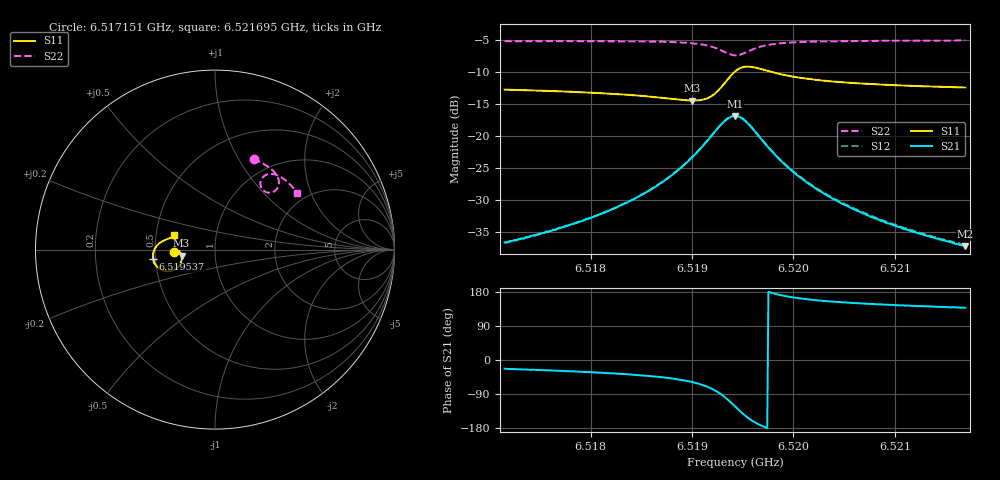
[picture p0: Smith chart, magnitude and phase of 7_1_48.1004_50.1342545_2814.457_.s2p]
#  HZ  S  RI  R  50.00
! Rohde & Schwarz Vector Network Analyzer
! Rohde-Schwarz,ZNB20-2Port,1311601062101988,3.16
! Created: UTC 12/23/2023, 3:35:16 AM
! freq[Hz]  re:S11  im:S11  re:S21  im:S21  re:S12  im:S12  re:S22  im:S22
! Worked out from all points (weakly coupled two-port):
!   401 points, 6.517151 GHz to 6.521695 GHz, reference 50 ohm
!   highest |S21| = -16.86 dB at 6.519423 GHz (marker M1); lowest = -37.1 dB at 6.521695 GHz (marker M2)
!   lowest |S11| = -14.5 dB at 6.519003 GHz (marker M3), VSWR 1.47, Z = 34.2 - j2.36 ohm
!   |S11| at or under -10 dB: start of sweep to 6.519418 GHz; 6.519783 GHz to end of sweep
!   |S22| runs from -7.4 to -5.1 dB; largest |S21 - S12| = 0.0042
!   S11 on the Smith chart (normalised r, x): 6.517151 GHz: 0.63, -0.02; 6.519537 GHz: 0.49, -0.06; 6.521695 GHz: 0.63, +0.10
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6.5171512e9  -0.2299 -0.0139  0.0137 -0.00577  0.0137 -0.00535  0.2148 0.5049
6.5175942e9  -0.2246 -0.00768  0.0162 -0.00833  0.0163 -0.00798  0.2474 0.4902
6.5179123e9  -0.2196 -0.00438  0.0187 -0.0112  0.019 -0.0106  0.2709 0.4774
6.5182645e9  -0.2124 -0.00278  0.0227 -0.0165  0.0232 -0.0158  0.2974 0.4605
6.5184576e9  -0.2071 -0.00393  0.0257 -0.0213  0.0264 -0.0205  0.3122 0.4491
6.5186735e9  -0.1999 -0.00843  0.03 -0.0295  0.0309 -0.0288  0.3291 0.4333
6.5188666e9  -0.1918 -0.0186  0.0342 -0.0427  0.0358 -0.0417  0.3442 0.4134
6.5190029e9  -0.1864 -0.0332  0.036 -0.0584  0.038 -0.0575  0.3532 0.3937
6.5191052e9  -0.1852 -0.0517  0.0338 -0.0765  0.0365 -0.0758  0.3563 0.3733
6.5191961e9  -0.1916 -0.076  0.0244 -0.0986  0.0275 -0.0987  0.3519 0.3502
6.5193324e9  -0.2381 -0.1168  -0.0233 -0.1311  -0.0196 -0.1328  0.3153 0.3181
6.5194233e9  -0.2981 -0.1129  -0.0769 -0.1213  -0.0739 -0.1243  0.2733 0.3263
6.5194801e9  -0.3288 -0.0874  -0.1016 -0.0954  -0.0998 -0.0991  0.2562 0.3484
6.5195369e9  -0.3439 -0.054  -0.111 -0.0649  -0.1101 -0.0685  0.2531 0.3739
6.5196391e9  -0.3394 -0.00422  -0.1017 -0.0226  -0.1019 -0.0257  0.27 0.4062
6.5197641e9  -0.3178 0.0282  -0.0796 0.00156  -0.0803 -0.000605  0.2984 0.4203
6.5199458e9  -0.2916 0.0472  -0.0556 0.0124  -0.0566 0.0111  0.3306 0.4198
6.5201844e9  -0.2707 0.0564  -0.0381 0.0147  -0.0388 0.0137  0.3593 0.4088
6.5204798e9  -0.2554 0.0623  -0.0264 0.0137  -0.0272 0.0133  0.3851 0.3919
6.5209456e9  -0.2407 0.0689  -0.0172 0.0117  -0.0178 0.0115  0.4164 0.3642
6.5213659e9  -0.2317 0.0747  -0.0128 0.0103  -0.0132 0.01  0.4399 0.3385
6.5216953e9  -0.2257 0.0791  -0.0103 0.00932  -0.0108 0.00913  0.4561 0.3181
